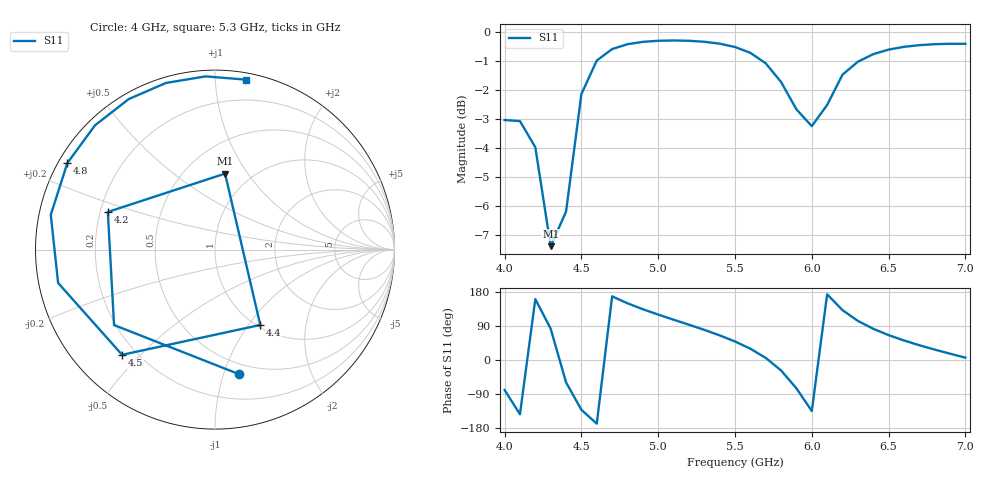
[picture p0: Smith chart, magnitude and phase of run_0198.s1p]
! Touchstone file exported from HFSS 2024.2.0
!  File:  C:/Users/wsak9/Desktop/Sim Fast/Widenad Patch/WP_AI_V1_sweep.aedt
!  Generated:  11:13:12 PM Oct 13, 2026
!  Design:  A1_model
!  Project:  WP_AI_V1_sweep
!  Setup:  Setup1
!  Solution:  Sweep
! Variables:
!  Air_gap = 3.93mm
!  Curve_Amp1 = 3.39
!  Curve_len1 = 1
!  Curve_pos = 13.38mm
!  Extra = 0.56mm
!  H_sub = 0.79mm
!  L_Patch = 22.76mm
!  L_Patch1 = 10.4mm
!  Sx = 4.15mm
!  Sy = 2.54mm
!  WS = 0.48mm
!  W_Patch = 22.19mm
!  W_Patch1 = 9.84mm
!Data is not renormalized
# GHz S MA
! Terminal data exported
! Port[1] = 1
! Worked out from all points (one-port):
!   31 points, 4 GHz to 7 GHz, reference per port
!   lowest |S11| = -7.4 dB at 4.3 GHz (marker M1), VSWR 2.49
!   |S11| at or under -10 dB: nowhere
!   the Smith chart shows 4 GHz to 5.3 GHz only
!   S11 on the Smith chart (normalised r, x): 4 GHz: 0.41, -1.12; 4.2 GHz: 0.23, +0.16; 4.4 GHz: 1.03, -1.14; 4.5 GHz: 0.15, -0.44; 4.8 GHz: 0.03, +0.27; 5.3 GHz: 0.05, +1.20
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4  0.7053 -79.3
4.1  0.7022 -143.2
4.2  0.6329 160.6
4.3  0.4271 82.5
4.4  0.4899 -59.0
4.5  0.782 -131.4
4.6  0.8935 -168.0
4.7  0.9352 168.1
4.8  0.9536 149.6
4.9  0.9624 134.0
5  0.9666 119.8
5.2  0.9666 93.1
5.3  0.9628 79.5
5.4  0.9556 65.0
5.5  0.943 48.9
5.6  0.9214 29.8
5.7  0.8837 5.6
5.8  0.8204 -27.6
5.9  0.7358 -74.9
6  0.6884 -134.6
6.1  0.7488 173.2
6.2  0.8448 131.6
6.3  0.8894 103.2
6.4  0.9165 82.3
6.5  0.9332 65.6
6.7  0.9499 39.0
6.8  0.9535 27.5
7  0.9549 6.2
